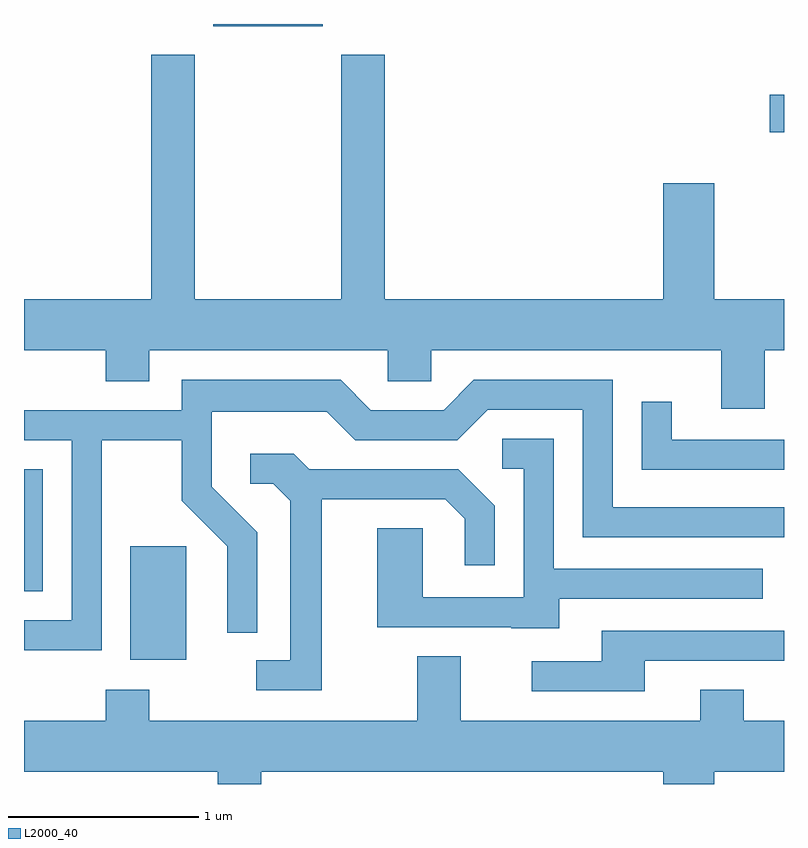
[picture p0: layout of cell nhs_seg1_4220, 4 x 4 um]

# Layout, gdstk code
import gdstk
lib = gdstk.Library(unit=1e-6, precision=1e-09)
def R(c, l, rs):  # rectangles x0, y0, x1, y1
    for r in rs: c.add(gdstk.rectangle(r[:2], r[2:], *l))
def P(c, l, *ps):  # polygons
    for p in ps: c.add(gdstk.Polygon(p, *l))
L2000_40 = (2000, 40)

nhs_seg1_4220 = lib.new_cell('nhs_seg1_4220')
R(nhs_seg1_4220, L2000_40, [(312.171,922.366,312.464,922.964), (311.611,922.726,311.709,923.369), (315.536,925.141,315.611,925.339), (312.606,925.701,313.184,925.712)])
P(nhs_seg1_4220, L2000_40, [(315.509,923.996),(315.611,923.996),(315.611,924.264),(315.244,924.264),(315.244,924.874),(314.976,924.874),(314.976,924.264),(313.509,924.264),(313.509,925.549),(313.281,925.549),(313.281,924.264),(312.509,924.264),(312.509,925.549),(312.281,925.549),(312.281,924.264),(311.611,924.264),(311.611,923.996),(312.041,923.996),(312.041,923.831),(312.269,923.831),(312.269,923.996),(313.526,923.996),(313.526,923.831),(313.754,923.831),(313.754,923.996),(315.281,923.996),(315.281,923.686),(315.509,923.686)],
  [(312.019,923.521),(312.441,923.521),(312.441,923.204),(312.681,922.964),(312.681,922.508),(312.839,922.508),(312.839,923.037),(312.599,923.277),(312.599,923.671),(313.204,923.671),(313.354,923.521),(313.892,923.521),(314.052,923.681),(314.551,923.681),(314.551,923.011),(315.611,923.011),(315.611,923.169),(314.709,923.169),(314.709,923.839),(313.979,923.839),(313.819,923.679),(313.437,923.679),(313.277,923.839),(312.441,923.839),(312.441,923.679),(311.611,923.679),(311.611,923.521),(311.861,923.521),(311.861,922.574),(311.611,922.574),(311.611,922.416),(312.019,922.416)],
  [(315.611,923.524),(315.019,923.524),(315.019,923.723),(314.861,923.723),(314.861,923.366),(315.611,923.366)],
  [(314.429,922.686),(315.498,922.686),(315.498,922.844),(314.399,922.844),(314.399,923.529),(314.128,923.529),(314.128,923.371),(314.241,923.371),(314.241,922.694),(313.709,922.694),(313.709,923.059),(313.471,923.059),(313.471,922.536),(314.175,922.536),(314.175,922.531),(314.429,922.531)],
  [(313.179,923.211),(313.829,923.211),(313.931,923.109),(313.931,922.863),(314.089,922.863),(314.089,923.177),(313.897,923.369),(313.112,923.369),(313.032,923.449),(312.803,923.449),(312.803,923.291),(312.924,923.291),(313.011,923.204),(313.011,922.364),(312.833,922.364),(312.833,922.206),(313.179,922.206)],
  [(314.879,922.361),(315.611,922.361),(315.611,922.519),(314.651,922.519),(314.651,922.359),(314.283,922.359),(314.283,922.201),(314.879,922.201)],
  [(312.269,922.209),(312.041,922.209),(312.041,922.044),(311.611,922.044),(311.611,921.776),(312.631,921.776),(312.631,921.712),(312.859,921.712),(312.859,921.776),(314.976,921.776),(314.976,921.712),(315.244,921.712),(315.244,921.776),(315.611,921.776),(315.611,922.044),(315.399,922.044),(315.399,922.209),(315.171,922.209),(315.171,922.044),(313.909,922.044),(313.909,922.384),(313.681,922.384),(313.681,922.044),(312.269,922.044)])

lib.write_gds('nhs_seg1_4220.gds')
